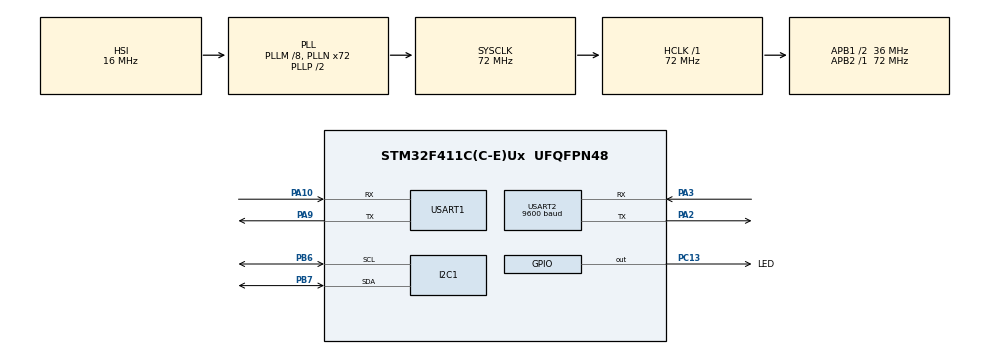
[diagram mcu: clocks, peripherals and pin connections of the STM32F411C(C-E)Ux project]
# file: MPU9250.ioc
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Mcu.Family=STM32F4
Mcu.Name=STM32F411C(C-E)Ux
Mcu.Package=UFQFPN48
NVIC.PriorityGroup=NVIC_PRIORITYGROUP_4
NVIC.USART2_IRQn=true\:0\:0\:false\:false\:true\:true\:true
PA10.Mode=Asynchronous
PA10.Signal=USART1_RX
PA13.Mode=Serial_Wire
PA13.Signal=SYS_JTMS-SWDIO
PA14.Mode=Serial_Wire
PA14.Signal=SYS_JTCK-SWCLK
PA2.Mode=Asynchronous
PA2.Signal=USART2_TX
PA3.Mode=Asynchronous
PA3.Signal=USART2_RX
PA9.Mode=Asynchronous
PA9.Signal=USART1_TX
PB6.Mode=I2C
PB6.Signal=I2C1_SCL
PB7.Mode=I2C
PB7.Signal=I2C1_SDA
PC13-ANTI_TAMP.GPIO_Label=LED
PC13-ANTI_TAMP.Signal=GPIO_Output
PH0\ -\ OSC_IN.Mode=HSE-External-Oscillator
PH0\ -\ OSC_IN.Signal=RCC_OSC_IN
PH1\ -\ OSC_OUT.Mode=HSE-External-Oscillator
PH1\ -\ OSC_OUT.Signal=RCC_OSC_OUT
ProjectManager.HeapSize=0x200
ProjectManager.StackSize=0x400
ProjectManager.TargetToolchain=STM32CubeIDE
RCC.48MHZClocksFreq_Value=36000000
RCC.AHBFreq_Value=72000000
RCC.APB1CLKDivider=RCC_HCLK_DIV2
RCC.APB1Freq_Value=36000000
RCC.APB1TimFreq_Value=72000000
RCC.APB2Freq_Value=72000000
RCC.APB2TimFreq_Value=72000000
RCC.CortexFreq_Value=72000000
RCC.HCLKFreq_Value=72000000
RCC.HSE_VALUE=25000000
RCC.HSI_VALUE=16000000
RCC.LSE_VALUE=32768
RCC.PLLM=8
RCC.PLLN=72
RCC.SYSCLKFreq_VALUE=72000000
RCC.SYSCLKSource=RCC_SYSCLKSOURCE_PLLCLK
RCC.VCOOutputFreq_Value=144000000
USART1.VirtualMode=VM_ASYNC
USART2.BaudRate=9600
USART2.VirtualMode=VM_ASYNC
board=custom

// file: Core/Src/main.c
/* USER CODE BEGIN Header */
/**
  ******************************************************************************
  * @file           : main.c
  * @brief          : Main program body
  ******************************************************************************
  * @attention
  *
  * Copyright (c) 2021 STMicroelectronics.
  * All rights reserved.
  *
  * This software is licensed under terms that can be found in the LICENSE file
  * in the root directory of this software component.
  * If no LICENSE file comes with this software, it is provided AS-IS.
  *
  ******************************************************************************
  */
/* USER CODE END Header */
#include "main.h"

/* USER CODE BEGIN Includes */
#include "MPU9250.h"
#include "micros.h"
#include <string.h>
#include <stdio.h>
/* USER CODE END Includes */

I2C_HandleTypeDef hi2c1;

UART_HandleTypeDef huart1;
UART_HandleTypeDef huart2;

/* USER CODE BEGIN PV */
MPU9250_t mpu;
/* USER CODE END PV */

void SystemClock_Config(void);
static void MX_GPIO_Init(void);
static void MX_USART1_UART_Init(void);
static void MX_I2C1_Init(void);
static void MX_USART2_UART_Init(void);

int main(void)
{

  /* MCU Configuration--------------------------------------------------------*/

  /* Reset of all peripherals, Initializes the Flash interface and the Systick. */
  HAL_Init();

  /* Configure the system clock */
  SystemClock_Config();

  /* Initialize all configured peripherals */
  MX_GPIO_Init();
  MX_USART1_UART_Init();
  MX_I2C1_Init();
  MX_USART2_UART_Init();
  /* USER CODE BEGIN 2 */
  MPU9250SetDefault(&mpu);
  HAL_Delay(2000);
  if (!(setupMPU(&mpu, MPU9250_ADDRESS)==1)) {  // change to your own address
	  char badmpu[] = "Check MPU\n\r";
          while (1) {
        	  HAL_UART_Transmit(&huart1, badmpu, strlen((char *)badmpu), 0xFFFF);
        	  HAL_Delay(5000);
          }

  }
  //calibrate(&mpu);
  setMPUSettings(&mpu);
  //accel bias [g]:  11.1511   0.0000   0.0000  ␊
  //gyro bias [deg/s]:  0.0000   0.6698   0.0000  ␊
  //mag bias [mG]:  19.1250   143.4375   0.0000  ␊
  //mag scale []:  1.3571   0.9382   0.8351
  HAL_Delay(100);
  float a[3];
  float g[3];
  float m[3];
  float heading, pitch, roll;
  float q[4];

  uint32_t prev_ms = 0;
  uint8_t str[100];
  	        	  	  	uint8_t str2[100];
  	        	  	  	uint8_t str3[100];
  	        	  	  	uint8_t str4[100];
  	        	  	    uint8_t str5[100];
  	        	  	  	uint8_t str6[100];
  	        	  	  	uint8_t str7[100];
  	        	  	  	uint8_t str8[100];
  	        	  	  	uint8_t str9[100];
  uint8_t head[100];
  uint8_t rl[100];
  uint8_t ptc[100];
  char new_line[] = " \n\r   ";
  /* USER CODE END 2 */

  /* Infinite loop */
  /* USER CODE BEGIN WHILE */
  while (1)
  {

	  if (updateMPU(&mpu)==1) {

	          //prev_ms = HAL_GetTick();
	          if ((HAL_GetTick() - prev_ms) > 200) {
	        	  char ok[] = "ok";
	        	  		  	  HAL_UART_Transmit(&huart1, ok, strlen((char *)ok), 0xFFFF);

	        	  	  a[0] = getAccX(&mpu);
	        	  	  a[1] = getAccY(&mpu);
	        	  	  a[2] = getAccZ(&mpu);
	        	  	  g[0] = getGyroX(&mpu);
	        	  	  g[1] = getGyroY(&mpu);
	        	  	  g[2] = getGyroZ(&mpu);
	        	  	  m[0] = getMagX(&mpu);
	        	  	  m[1] = getMagY(&mpu);
	        	  	  m[2] = getMagZ(&mpu);
	        	  	  heading = getYaw(&mpu);
	        	  	  roll = getRoll(&mpu);
	        	  	  pitch = getPitch(&mpu);
	        	  	  q[0] = getQuaternionX(&mpu);
	        	  	  q[1] = getQuaternionY(&mpu);
	        	  	  q[2] = getQuaternionZ(&mpu);
	        	  	  q[3] = getQuaternionW(&mpu);
	        	  	  print_float(head, heading);
	        	  	  print_float(rl, roll);
	        	  	  print_float(ptc, pitch);
	        	  	  HAL_UART_Transmit(&huart1, new_line, strlen((char *)new_line), 0xFFFF);
	        	  	  	/*sprintf(str, "ax = %d.%04d ",(uint32_t)a[0], (uint16_t)((a[0] - (uint32_t)a[0])*10000.));
	        	  	  	sprintf(str2, "ay = %d.%04d ",(uint32_t)a[1], (uint16_t)((a[1] - (uint32_t)a[1])*10000.));
	        	  	  	sprintf(str3, "az = %d.%04d    ",(uint32_t)a[2], (uint16_t)((a[2] - (uint32_t)a[2])*10000.));
	        	  	  	sprintf(str4, "gx = %d.%06d ",(uint32_t)g[0], (uint16_t)((g[0] - (uint32_t)g[0])*1000000.));
	        	  	  	sprintf(str5, "gy = %d.%06d ",(uint32_t)g[1], (uint16_t)((g[1] - (uint32_t)g[1])*1000000.));
	        	  	  	sprintf(str6, "gz = %d.%06d    ",(uint32_t)g[2], (uint16_t)((g[2] - (uint32_t)g[2])*1000000.));
	        	  	  	sprintf(str7, "mx = %d.%06d ",(uint32_t)m[0], (uint16_t)((m[0] - (uint32_t)m[0])*1000000.));
	        	  	    sprintf(str8, "my = %d.%06d ",(uint32_t)m[1], (uint16_t)((m[1] - (uint32_t)m[1])*1000000.));
	        	  	  	sprintf(str9, "mz = %d.%06d\n",(uint32_t)m[2], (uint16_t)((m[2] - (uint32_t)m[2])*1000000.));
	        	  	  HAL_UART_Transmit(&huart1, str, strlen((char *)str), 0xFFFF);
	        	  	  	  	HAL_UART_Transmit(&huart1, str2, strlen((char *)str2), 0xFFFF);
	        	  	  	  	HAL_UART_Transmit(&huart1, str3, strlen((char *)str3), 0xFFFF);
	        	  	  	  	HAL_UART_Transmit(&huart1, str4, strlen((char *)str4), 0xFFFF);
	        	  	  	  	HAL_UART_Transmit(&huart1, str5, strlen((char *)str5), 0xFFFF);
	        	  	  	  	HAL_UART_Transmit(&huart1, str6, strlen((char *)str6), 0xFFFF);
	        	  	  	  	HAL_UART_Transmit(&huart1, str7, strlen((char *)str7), 0xFFFF);
	        	  	  	  	HAL_UART_Transmit(&huart1, str8, strlen((char *)str8), 0xFFFF);
	        	  	  	  	HAL_UART_Transmit(&huart1, str9, strlen((char *)str9), 0xFFFF);*/

	              prev_ms = HAL_GetTick();
	          }
	      }

	  //uint8_t whoamimpu = readByte(MPU9250_ADDRESS, WHO_AM_I_MPU9250);

	  //uint8_t wh[100];
	  uint8_t wha[100];
	  //sprintf(wh, "mpu = 0x%x ", whoamimpu);

	  //HAL_UART_Transmit(&huart1, wh, strlen((char *)wh), 0xFFFF);
	  /*HAL_UART_Transmit(&huart1, wha, strlen((char *)wha), 0xFFFF);

	  /*HAL_GPIO_WritePin(LED_GPIO_Port,LED_Pin, GPIO_PIN_RESET);
	  	  	 HAL_Delay(200);
	  	  	 HAL_GPIO_WritePin(LED_GPIO_Port,LED_Pin, GPIO_PIN_SET);
	  	  	 HAL_Delay(200);*/

	  	/*uint8_t str[400];
	  	uint8_t str2[200];
	  	uint8_t str3[100];
	  	uint8_t str4[100];
	    uint8_t str5[100];
	  	uint8_t str6[100];
	  	uint8_t str7[100];
	  	uint8_t str8[100];
	  	uint8_t str9[100];

	  	sprintf(str, "ax = %d.%04d ",(uint32_t)ax, (uint16_t)((ax - (uint32_t)ax)*10000.));
	  	sprintf(str2, "ay = %d.%04d ",(uint32_t)ay, (uint16_t)((ay - (uint32_t)ay)*10000.));
	  	sprintf(str3, "az = %d.%04d\n",(uint32_t)az, (uint16_t)((az - (uint32_t)az)*10000.));
	  	sprintf(str4, "gx = %d.%06d ",(uint32_t)gx, (uint16_t)((gx - (uint32_t)gx)*1000000.));
	  	sprintf(str5, "gy = %d.%06d ",(uint32_t)gy, (uint16_t)((gy - (uint32_t)gy)*1000000.));
	  	sprintf(str6, "gz = %d.%06d\n",(uint32_t)gz, (uint16_t)((gz - (uint32_t)gz)*1000000.));
	  	sprintf(str7, "mx = %d.%06d ",(uint32_t)mx, (uint16_t)((mx - (uint32_t)mx)*1000000.));
	    sprintf(str8, "my = %d.%06d ",(uint32_t)my, (uint16_t)((my - (uint32_t)my)*1000000.));
	  	sprintf(str9, "mz = %d.%06d\n",(uint32_t)mz, (uint16_t)((mz - (uint32_t)mz)*1000000.));

	  	HAL_UART_Transmit(&huart1, str, strlen((char *)str), 0xFFFF);
	  	HAL_UART_Transmit(&huart1, str2, strlen((char *)str2), 0xFFFF);
	  	HAL_UART_Transmit(&huart1, str3, strlen((char *)str3), 0xFFFF);
	  	HAL_UART_Transmit(&huart1, str4, strlen((char *)str4), 0xFFFF);
	  	HAL_UART_Transmit(&huart1, str5, strlen((char *)str5), 0xFFFF);
	  	HAL_UART_Transmit(&huart1, str6, strlen((char *)str6), 0xFFFF);
	  	HAL_UART_Transmit(&huart1, str7, strlen((char *)str7), 0xFFFF);
	  	HAL_UART_Transmit(&huart1, str8, strlen((char *)str8), 0xFFFF);
	  	HAL_UART_Transmit(&huart1, str9, strlen((char *)str9), 0xFFFF);*/
    /* USER CODE END WHILE */

  }
}

void SystemClock_Config(void)
{
  RCC_OscInitTypeDef RCC_OscInitStruct = {0};
  RCC_ClkInitTypeDef RCC_ClkInitStruct = {0};

  /** Configure the main internal regulator output voltage
  */
  __HAL_RCC_PWR_CLK_ENABLE();
  __HAL_PWR_VOLTAGESCALING_CONFIG(PWR_REGULATOR_VOLTAGE_SCALE1);
  /** Initializes the RCC Oscillators according to the specified parameters
  * in the RCC_OscInitTypeDef structure.
  */
  RCC_OscInitStruct.OscillatorType = RCC_OSCILLATORTYPE_HSI;
  RCC_OscInitStruct.HSIState = RCC_HSI_ON;
  RCC_OscInitStruct.HSICalibrationValue = RCC_HSICALIBRATION_DEFAULT;
  RCC_OscInitStruct.PLL.PLLState = RCC_PLL_ON;
  RCC_OscInitStruct.PLL.PLLSource = RCC_PLLSOURCE_HSI;
  RCC_OscInitStruct.PLL.PLLM = 8;
  RCC_OscInitStruct.PLL.PLLN = 72;
  RCC_OscInitStruct.PLL.PLLP = RCC_PLLP_DIV2;
  RCC_OscInitStruct.PLL.PLLQ = 4;
  if (HAL_RCC_OscConfig(&RCC_OscInitStruct) != HAL_OK)
  {
    Error_Handler();
  }
  /** Initializes the CPU, AHB and APB buses clocks
  */
  RCC_ClkInitStruct.ClockType = RCC_CLOCKTYPE_HCLK|RCC_CLOCKTYPE_SYSCLK
                              |RCC_CLOCKTYPE_PCLK1|RCC_CLOCKTYPE_PCLK2;
  RCC_ClkInitStruct.SYSCLKSource = RCC_SYSCLKSOURCE_PLLCLK;
  RCC_ClkInitStruct.AHBCLKDivider = RCC_SYSCLK_DIV1;
  RCC_ClkInitStruct.APB1CLKDivider = RCC_HCLK_DIV2;
  RCC_ClkInitStruct.APB2CLKDivider = RCC_HCLK_DIV1;

  if (HAL_RCC_ClockConfig(&RCC_ClkInitStruct, FLASH_LATENCY_2) != HAL_OK)
  {
    Error_Handler();
  }
}

static void MX_I2C1_Init(void)
{

  hi2c1.Instance = I2C1;
  hi2c1.Init.ClockSpeed = 100000;
  hi2c1.Init.DutyCycle = I2C_DUTYCYCLE_2;
  hi2c1.Init.OwnAddress1 = 0;
  hi2c1.Init.AddressingMode = I2C_ADDRESSINGMODE_7BIT;
  hi2c1.Init.DualAddressMode = I2C_DUALADDRESS_DISABLE;
  hi2c1.Init.OwnAddress2 = 0;
  hi2c1.Init.GeneralCallMode = I2C_GENERALCALL_DISABLE;
  hi2c1.Init.NoStretchMode = I2C_NOSTRETCH_DISABLE;
  if (HAL_I2C_Init(&hi2c1) != HAL_OK)
  {
    Error_Handler();
  }

}

static void MX_USART1_UART_Init(void)
{

  huart1.Instance = USART1;
  huart1.Init.BaudRate = 115200;
  huart1.Init.WordLength = UART_WORDLENGTH_8B;
  huart1.Init.StopBits = UART_STOPBITS_1;
  huart1.Init.Parity = UART_PARITY_NONE;
  huart1.Init.Mode = UART_MODE_TX_RX;
  huart1.Init.HwFlowCtl = UART_HWCONTROL_NONE;
  huart1.Init.OverSampling = UART_OVERSAMPLING_16;
  if (HAL_UART_Init(&huart1) != HAL_OK)
  {
    Error_Handler();
  }

}

static void MX_USART2_UART_Init(void)
{

  huart2.Instance = USART2;
  huart2.Init.BaudRate = 9600;
  huart2.Init.WordLength = UART_WORDLENGTH_8B;
  huart2.Init.StopBits = UART_STOPBITS_1;
  huart2.Init.Parity = UART_PARITY_NONE;
  huart2.Init.Mode = UART_MODE_TX_RX;
  huart2.Init.HwFlowCtl = UART_HWCONTROL_NONE;
  huart2.Init.OverSampling = UART_OVERSAMPLING_16;
  if (HAL_UART_Init(&huart2) != HAL_OK)
  {
    Error_Handler();
  }

}

static void MX_GPIO_Init(void)
{
  GPIO_InitTypeDef GPIO_InitStruct = {0};

  /* GPIO Ports Clock Enable */
  __HAL_RCC_GPIOC_CLK_ENABLE();
  __HAL_RCC_GPIOH_CLK_ENABLE();
  __HAL_RCC_GPIOA_CLK_ENABLE();
  __HAL_RCC_GPIOB_CLK_ENABLE();

  /*Configure GPIO pin Output Level */
  HAL_GPIO_WritePin(LED_GPIO_Port, LED_Pin, GPIO_PIN_RESET);

  /*Configure GPIO pin : LED_Pin */
  GPIO_InitStruct.Pin = LED_Pin;
  GPIO_InitStruct.Mode = GPIO_MODE_OUTPUT_PP;
  GPIO_InitStruct.Pull = GPIO_NOPULL;
  GPIO_InitStruct.Speed = GPIO_SPEED_FREQ_LOW;
  HAL_GPIO_Init(LED_GPIO_Port, &GPIO_InitStruct);

}

/* USER CODE BEGIN 4 */

void setMPUSettings(MPU9250_t * MPU0250){
	//accel bias [g]:  11.1511   0.0000   0.0000  ␊
	  //gyro bias [deg/s]:  0.0000   0.6698   0.0000  ␊
	  //mag bias [mG]:  19.1250   143.4375   0.0000  ␊
	  //mag scale []:  1.3571   0.9382   0.8351
	setAccBias(MPU0250, 11.1511, 0.0, 0.00);
	setGyroBias(MPU0250, 0.0, 0.6698, 0.0);
	setMagBias(MPU0250, 19.125, 143.4375, 0.0000);
	setMagScale(MPU0250, 1.3571, 0.9382, 0.8351);
	/*setAccBias(MPU0250, 280.60, 163.00, 264.40);
	setGyroBias(MPU0250, 12.63, -72.50, -73.97);
	setMagBias(MPU0250, 75.03, 296.37, -636.671);
	setMagScale(MPU0250, 1.11, 1.03, 0.890);*/

	setMagneticDeclination(MPU0250, 10.91);
}

/* USER CODE END 4 */

void Error_Handler(void)
{
  __disable_irq();
  while (1)
  {
  }
}
